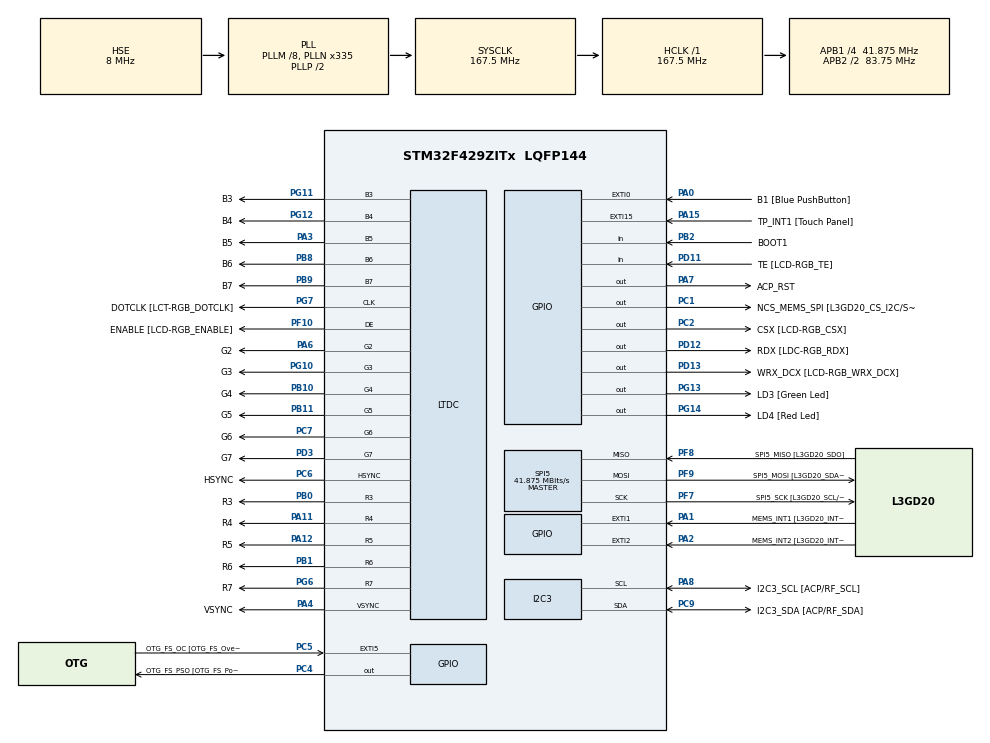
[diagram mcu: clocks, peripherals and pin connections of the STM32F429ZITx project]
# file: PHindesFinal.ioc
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Mcu.Family=STM32F4
Mcu.Name=STM32F429ZITx
Mcu.Package=LQFP144
NVIC.EXTI0_IRQn=true\:0\:0\:false\:false\:true\:true\:true\:true
NVIC.PriorityGroup=NVIC_PRIORITYGROUP_0
NVIC.TIM2_IRQn=true\:0\:0\:false\:false\:true\:true\:true\:true
PA0/WKUP.GPIO_Label=B1 [Blue PushButton]
PA0/WKUP.GPIO_ModeDefaultEXTI=GPIO_MODE_IT_RISING
PA0/WKUP.GPIO_PuPd=GPIO_NOPULL
PA0/WKUP.Signal=GPXTI0
PA1.GPIO_Label=MEMS_INT1 [L3GD20_INT1]
PA1.GPIO_ModeDefaultEXTI=GPIO_MODE_EVT_RISING
PA1.GPIO_PuPd=GPIO_NOPULL
PA1.Signal=GPXTI1
PA10.GPIO_Label=STLINK_TX [STM32F103CBT6_PA2]
PA10.Signal=USART1_RX
PA11.GPIO_Label=R4
PA11.GPIO_Mode=GPIO_MODE_AF_PP
PA11.GPIO_PuPd=GPIO_NOPULL
PA11.GPIO_Speed=GPIO_SPEED_FREQ_LOW
PA11.Mode=RGB565
PA11.Signal=LTDC_R4
PA12.GPIO_Label=R5
PA12.GPIO_Mode=GPIO_MODE_AF_PP
PA12.GPIO_PuPd=GPIO_NOPULL
PA12.GPIO_Speed=GPIO_SPEED_FREQ_LOW
PA12.Mode=RGB565
PA12.Signal=LTDC_R5
PA13.GPIO_Label=SWDIO
PA13.Signal=SYS_JTMS-SWDIO
PA14.GPIO_Label=SWCLK
PA14.Signal=SYS_JTCK-SWCLK
PA15.GPIO_Label=TP_INT1 [Touch Panel]
PA15.GPIO_ModeDefaultEXTI=GPIO_MODE_EVT_RISING
PA15.GPIO_PuPd=GPIO_NOPULL
PA15.Signal=GPXTI15
PA2.GPIO_Label=MEMS_INT2 [L3GD20_INT2]
PA2.GPIO_ModeDefaultEXTI=GPIO_MODE_EVT_RISING
PA2.GPIO_PuPd=GPIO_NOPULL
PA2.Signal=GPXTI2
PA3.GPIO_Label=B5
PA3.GPIO_Mode=GPIO_MODE_AF_PP
PA3.GPIO_PuPd=GPIO_NOPULL
PA3.GPIO_Speed=GPIO_SPEED_FREQ_LOW
PA3.Mode=RGB565
PA3.Signal=LTDC_B5
PA4.GPIO_Label=VSYNC
PA4.GPIO_Mode=GPIO_MODE_AF_PP
PA4.GPIO_PuPd=GPIO_NOPULL
PA4.GPIO_Speed=GPIO_SPEED_FREQ_LOW
PA4.Mode=RGB565
PA4.Signal=LTDC_VSYNC
PA6.GPIO_Label=G2
PA6.GPIO_Mode=GPIO_MODE_AF_PP
PA6.GPIO_PuPd=GPIO_NOPULL
PA6.GPIO_Speed=GPIO_SPEED_FREQ_LOW
PA6.Mode=RGB565
PA6.Signal=LTDC_G2
PA7.GPIO_Label=ACP_RST
PA7.GPIO_Mode=GPIO_MODE_OUTPUT_PP
PA7.GPIO_PuPd=GPIO_NOPULL
PA7.GPIO_Speed=GPIO_SPEED_FREQ_LOW
PA7.Signal=GPIO_Output
PA8.GPIO_Label=I2C3_SCL [ACP/RF_SCL]
PA8.GPIO_Mode=GPIO_MODE_AF_OD
PA8.GPIO_PuPd=GPIO_NOPULL
PA8.GPIO_Speed=GPIO_SPEED_FREQ_LOW
PA8.Mode=I2C
PA8.Signal=I2C3_SCL
PA9.GPIO_Label=STLINK_RX [STM32F103CBT6_PA3]
PA9.Signal=USART1_TX
PB0.GPIO_Label=R3
PB0.GPIO_Mode=GPIO_MODE_AF_PP
PB0.GPIO_PuPd=GPIO_NOPULL
PB0.GPIO_Speed=GPIO_SPEED_FREQ_LOW
PB0.Mode=RGB565
PB0.Signal=LTDC_R3
PB1.GPIO_Label=R6
PB1.GPIO_Mode=GPIO_MODE_AF_PP
PB1.GPIO_PuPd=GPIO_NOPULL
PB1.GPIO_Speed=GPIO_SPEED_FREQ_LOW
PB1.Mode=RGB565
PB1.Signal=LTDC_R6
PB10.GPIO_Label=G4
PB10.GPIO_Mode=GPIO_MODE_AF_PP
PB10.GPIO_PuPd=GPIO_NOPULL
PB10.GPIO_Speed=GPIO_SPEED_FREQ_LOW
PB10.Mode=RGB565
PB10.Signal=LTDC_G4
PB11.GPIO_Label=G5
PB11.GPIO_Mode=GPIO_MODE_AF_PP
PB11.GPIO_PuPd=GPIO_NOPULL
PB11.GPIO_Speed=GPIO_SPEED_FREQ_LOW
PB11.Mode=RGB565
PB11.Signal=LTDC_G5
PB12.GPIO_Label=OTG_HS_ID
PB12.GPIO_Mode=GPIO_MODE_AF_PP
PB12.GPIO_PuPd=GPIO_NOPULL
PB12.GPIO_Speed=GPIO_SPEED_FREQ_LOW
PB12.Signal=USB_OTG_HS_ID
PB13.GPIO_Label=VBUS_HS
PB13.GPIO_Mode=GPIO_MODE_INPUT
PB13.GPIO_PuPd=GPIO_NOPULL
PB13.Signal=USB_OTG_HS_VBUS
PB14.GPIO_Label=OTG_HS_DM
PB14.GPIO_Mode=GPIO_MODE_AF_PP
PB14.GPIO_PuPd=GPIO_NOPULL
PB14.GPIO_Speed=GPIO_SPEED_FREQ_LOW
PB14.Signal=USB_OTG_HS_DM
PB15.GPIO_Label=OTG_HS_DP
PB15.GPIO_Mode=GPIO_MODE_AF_PP
PB15.GPIO_PuPd=GPIO_NOPULL
PB15.GPIO_Speed=GPIO_SPEED_FREQ_LOW
PB15.Signal=USB_OTG_HS_DP
PB2/BOOT1.GPIO_Label=BOOT1
PB2/BOOT1.GPIO_Mode=GPIO_MODE_INPUT
PB2/BOOT1.GPIO_PuPd=GPIO_NOPULL
PB2/BOOT1.Signal=GPIO_Input
PB5.GPIO_Label=SDCKE1
PB5.GPIO_Mode=GPIO_MODE_AF_PP
PB5.GPIO_PuPd=GPIO_NOPULL
PB5.GPIO_Speed=GPIO_SPEED_FREQ_VERY_HIGH
PB5.Signal=FMC_SDCKE1
PB6.GPIO_Label=SDNE1 [SDRAM_CS]
PB6.GPIO_Mode=GPIO_MODE_AF_PP
PB6.GPIO_PuPd=GPIO_NOPULL
PB6.GPIO_Speed=GPIO_SPEED_FREQ_VERY_HIGH
PB6.Signal=FMC_SDNE1
PB8.GPIO_Label=B6
PB8.GPIO_Mode=GPIO_MODE_AF_PP
PB8.GPIO_PuPd=GPIO_NOPULL
PB8.GPIO_Speed=GPIO_SPEED_FREQ_LOW
PB8.Mode=RGB565
PB8.Signal=LTDC_B6
PB9.GPIO_Label=B7
PB9.GPIO_Mode=GPIO_MODE_AF_PP
PB9.GPIO_PuPd=GPIO_NOPULL
PB9.GPIO_Speed=GPIO_SPEED_FREQ_LOW
PB9.Mode=RGB565
PB9.Signal=LTDC_B7
PC0.GPIO_Label=SDNWE
PC0.GPIO_Mode=GPIO_MODE_AF_PP
PC0.GPIO_PuPd=GPIO_NOPULL
PC0.GPIO_Speed=GPIO_SPEED_FREQ_VERY_HIGH
PC0.Signal=FMC_SDNWE
PC1.GPIO_Label=NCS_MEMS_SPI [L3GD20_CS_I2C/SPI]
PC1.GPIO_Mode=GPIO_MODE_OUTPUT_PP
PC1.GPIO_PuPd=GPIO_NOPULL
PC1.GPIO_Speed=GPIO_SPEED_FREQ_LOW
PC1.Signal=GPIO_Output
PC10.GPIO_Label=R2
PC10.GPIO_Mode=GPIO_MODE_AF_PP
PC10.GPIO_PuPd=GPIO_NOPULL
PC10.GPIO_Speed=GPIO_SPEED_FREQ_LOW
PC10.Signal=LTDC_R2
PC14/OSC32_IN.GPIO_Label=PC14-OSC32_IN
PC14/OSC32_IN.Signal=RCC_OSC32_IN
PC15/OSC32_OUT.GPIO_Label=PC15-OSC32_OUT
PC15/OSC32_OUT.Signal=RCC_OSC32_OUT
PC2.GPIO_Label=CSX [LCD-RGB_CSX]
PC2.GPIO_Mode=GPIO_MODE_OUTPUT_PP
PC2.GPIO_PuPd=GPIO_NOPULL
PC2.GPIO_Speed=GPIO_SPEED_FREQ_LOW
PC2.Signal=GPIO_Output
PC4.GPIO_Label=OTG_FS_PSO [OTG_FS_PowerSwitchOn]
PC4.GPIO_Mode=GPIO_MODE_OUTPUT_PP
PC4.GPIO_PuPd=GPIO_NOPULL
PC4.GPIO_Speed=GPIO_SPEED_FREQ_LOW
PC4.Signal=GPIO_Output
PC5.GPIO_Label=OTG_FS_OC [OTG_FS_OverCurrent]
PC5.GPIO_ModeDefaultEXTI=GPIO_MODE_EVT_RISING
PC5.Signal=GPXTI5
PC6.GPIO_Label=HSYNC
PC6.GPIO_Mode=GPIO_MODE_AF_PP
PC6.GPIO_PuPd=GPIO_NOPULL
PC6.GPIO_Speed=GPIO_SPEED_FREQ_LOW
PC6.Mode=RGB565
PC6.Signal=LTDC_HSYNC
PC7.GPIO_Label=G6
PC7.GPIO_Mode=GPIO_MODE_AF_PP
PC7.GPIO_PuPd=GPIO_NOPULL
PC7.GPIO_Speed=GPIO_SPEED_FREQ_LOW
PC7.Mode=RGB565
PC7.Signal=LTDC_G6
PC9.GPIO_Label=I2C3_SDA [ACP/RF_SDA]
PC9.GPIO_Mode=GPIO_MODE_AF_OD
PC9.GPIO_PuPd=GPIO_NOPULL
PC9.GPIO_Speed=GPIO_SPEED_FREQ_LOW
PC9.Mode=I2C
PC9.Signal=I2C3_SDA
PD0.GPIO_Label=D2
PD0.GPIO_Mode=GPIO_MODE_AF_PP
PD0.GPIO_PuPd=GPIO_NOPULL
PD0.GPIO_Speed=GPIO_SPEED_FREQ_VERY_HIGH
PD0.Signal=FMC_D2_DA2
PD1.GPIO_Label=D3
PD1.GPIO_Mode=GPIO_MODE_AF_PP
PD1.GPIO_PuPd=GPIO_NOPULL
PD1.GPIO_Speed=GPIO_SPEED_FREQ_VERY_HIGH
PD1.Signal=FMC_D3_DA3
PD10.GPIO_Label=D15
PD10.GPIO_Mode=GPIO_MODE_AF_PP
PD10.GPIO_PuPd=GPIO_NOPULL
PD10.GPIO_Speed=GPIO_SPEED_FREQ_VERY_HIGH
PD10.Signal=FMC_D15_DA15
PD11.GPIO_Label=TE [LCD-RGB_TE]
PD11.GPIO_Mode=GPIO_MODE_INPUT
PD11.GPIO_PuPd=GPIO_NOPULL
PD11.Signal=GPIO_Input
PD12.GPIO_Label=RDX [LDC-RGB_RDX]
PD12.GPIO_Mode=GPIO_MODE_OUTPUT_PP
PD12.GPIO_PuPd=GPIO_NOPULL
PD12.GPIO_Speed=GPIO_SPEED_FREQ_LOW
PD12.Signal=GPIO_Output
PD13.GPIO_Label=WRX_DCX [LCD-RGB_WRX_DCX]
PD13.GPIO_Mode=GPIO_MODE_OUTPUT_PP
PD13.GPIO_PuPd=GPIO_NOPULL
PD13.GPIO_Speed=GPIO_SPEED_FREQ_LOW
PD13.Signal=GPIO_Output
PD14.GPIO_Label=D0
PD14.GPIO_Mode=GPIO_MODE_AF_PP
PD14.GPIO_PuPd=GPIO_NOPULL
PD14.GPIO_Speed=GPIO_SPEED_FREQ_VERY_HIGH
PD14.Signal=FMC_D0_DA0
PD15.GPIO_Label=D1
PD15.GPIO_Mode=GPIO_MODE_AF_PP
PD15.GPIO_PuPd=GPIO_NOPULL
PD15.GPIO_Speed=GPIO_SPEED_FREQ_VERY_HIGH
PD15.Signal=FMC_D1_DA1
PD3.GPIO_Label=G7
PD3.GPIO_Mode=GPIO_MODE_AF_PP
PD3.GPIO_PuPd=GPIO_NOPULL
PD3.GPIO_Speed=GPIO_SPEED_FREQ_LOW
PD3.Mode=RGB565
PD3.Signal=LTDC_G7
PD6.GPIO_Label=B2
PD6.GPIO_Mode=GPIO_MODE_AF_PP
PD6.GPIO_PuPd=GPIO_NOPULL
PD6.GPIO_Speed=GPIO_SPEED_FREQ_LOW
PD6.Signal=LTDC_B2
PD8.GPIO_Label=D13
PD8.GPIO_Mode=GPIO_MODE_AF_PP
PD8.GPIO_PuPd=GPIO_NOPULL
PD8.GPIO_Speed=GPIO_SPEED_FREQ_VERY_HIGH
PD8.Signal=FMC_D13_DA13
PD9.GPIO_Label=D14
PD9.GPIO_Mode=GPIO_MODE_AF_PP
PD9.GPIO_PuPd=GPIO_NOPULL
PD9.GPIO_Speed=GPIO_SPEED_FREQ_VERY_HIGH
PD9.Signal=FMC_D14_DA14
PE0.GPIO_Label=NBL0 [SDRAM_LDQM]
PE0.GPIO_Mode=GPIO_MODE_AF_PP
PE0.GPIO_PuPd=GPIO_NOPULL
PE0.GPIO_Speed=GPIO_SPEED_FREQ_VERY_HIGH
PE0.Signal=FMC_NBL0
PE1.GPIO_Label=NBL1 [SDRAM_UDQM]
PE1.GPIO_Mode=GPIO_MODE_AF_PP
PE1.GPIO_PuPd=GPIO_NOPULL
PE1.GPIO_Speed=GPIO_SPEED_FREQ_VERY_HIGH
PE1.Signal=FMC_NBL1
PE10.GPIO_Label=D7
PE10.GPIO_Mode=GPIO_MODE_AF_PP
PE10.GPIO_PuPd=GPIO_NOPULL
PE10.GPIO_Speed=GPIO_SPEED_FREQ_VERY_HIGH
PE10.Signal=FMC_D7_DA7
PE11.GPIO_Label=D8
PE11.GPIO_Mode=GPIO_MODE_AF_PP
PE11.GPIO_PuPd=GPIO_NOPULL
PE11.GPIO_Speed=GPIO_SPEED_FREQ_VERY_HIGH
PE11.Signal=FMC_D8_DA8
PE12.GPIO_Label=D9
PE12.GPIO_Mode=GPIO_MODE_AF_PP
PE12.GPIO_PuPd=GPIO_NOPULL
PE12.GPIO_Speed=GPIO_SPEED_FREQ_VERY_HIGH
PE12.Signal=FMC_D9_DA9
PE13.GPIO_Label=D10
PE13.GPIO_Mode=GPIO_MODE_AF_PP
PE13.GPIO_PuPd=GPIO_NOPULL
PE13.GPIO_Speed=GPIO_SPEED_FREQ_VERY_HIGH
PE13.Signal=FMC_D10_DA10
PE14.GPIO_Label=D11
PE14.GPIO_Mode=GPIO_MODE_AF_PP
PE14.GPIO_PuPd=GPIO_NOPULL
PE14.GPIO_Speed=GPIO_SPEED_FREQ_VERY_HIGH
PE14.Signal=FMC_D11_DA11
PE15.GPIO_Label=D12
PE15.GPIO_Mode=GPIO_MODE_AF_PP
PE15.GPIO_PuPd=GPIO_NOPULL
PE15.GPIO_Speed=GPIO_SPEED_FREQ_VERY_HIGH
PE15.Signal=FMC_D12_DA12
PE7.GPIO_Label=D4
PE7.GPIO_Mode=GPIO_MODE_AF_PP
PE7.GPIO_PuPd=GPIO_NOPULL
PE7.GPIO_Speed=GPIO_SPEED_FREQ_VERY_HIGH
PE7.Signal=FMC_D4_DA4
PE8.GPIO_Label=D5
PE8.GPIO_Mode=GPIO_MODE_AF_PP
PE8.GPIO_PuPd=GPIO_NOPULL
PE8.GPIO_Speed=GPIO_SPEED_FREQ_VERY_HIGH
PE8.Signal=FMC_D5_DA5
PE9.GPIO_Label=D6
PE9.GPIO_Mode=GPIO_MODE_AF_PP
PE9.GPIO_PuPd=GPIO_NOPULL
PE9.GPIO_Speed=GPIO_SPEED_FREQ_VERY_HIGH
PE9.Signal=FMC_D6_DA6
PF0.GPIO_Label=A0
PF0.GPIO_Mode=GPIO_MODE_AF_PP
PF0.GPIO_PuPd=GPIO_NOPULL
PF0.GPIO_Speed=GPIO_SPEED_FREQ_VERY_HIGH
PF0.Signal=FMC_A0
PF1.GPIO_Label=A1
PF1.GPIO_Mode=GPIO_MODE_AF_PP
PF1.GPIO_PuPd=GPIO_NOPULL
PF1.GPIO_Speed=GPIO_SPEED_FREQ_VERY_HIGH
PF1.Signal=FMC_A1
PF10.GPIO_Label=ENABLE [LCD-RGB_ENABLE]
PF10.GPIO_Mode=GPIO_MODE_AF_PP
PF10.GPIO_PuPd=GPIO_NOPULL
PF10.GPIO_Speed=GPIO_SPEED_FREQ_LOW
PF10.Mode=RGB565
PF10.Signal=LTDC_DE
PF11.GPIO_Label=SDNRAS
PF11.GPIO_Mode=GPIO_MODE_AF_PP
PF11.GPIO_PuPd=GPIO_NOPULL
PF11.GPIO_Speed=GPIO_SPEED_FREQ_VERY_HIGH
PF11.Signal=FMC_SDNRAS
PF12.GPIO_Label=A6
PF12.GPIO_Mode=GPIO_MODE_AF_PP
PF12.GPIO_PuPd=GPIO_NOPULL
PF12.GPIO_Speed=GPIO_SPEED_FREQ_VERY_HIGH
PF12.Signal=FMC_A6
PF13.GPIO_Label=A7
PF13.GPIO_Mode=GPIO_MODE_AF_PP
PF13.GPIO_PuPd=GPIO_NOPULL
PF13.GPIO_Speed=GPIO_SPEED_FREQ_VERY_HIGH
PF13.Signal=FMC_A7
PF14.GPIO_Label=A8
PF14.GPIO_Mode=GPIO_MODE_AF_PP
PF14.GPIO_PuPd=GPIO_NOPULL
PF14.GPIO_Speed=GPIO_SPEED_FREQ_VERY_HIGH
PF14.Signal=FMC_A8
PF15.GPIO_Label=A9
PF15.GPIO_Mode=GPIO_MODE_AF_PP
PF15.GPIO_PuPd=GPIO_NOPULL
PF15.GPIO_Speed=GPIO_SPEED_FREQ_VERY_HIGH
PF15.Signal=FMC_A9
PF2.GPIO_Label=A2
PF2.GPIO_Mode=GPIO_MODE_AF_PP
PF2.GPIO_PuPd=GPIO_NOPULL
PF2.GPIO_Speed=GPIO_SPEED_FREQ_VERY_HIGH
PF2.Signal=FMC_A2
PF3.GPIO_Label=A3
PF3.GPIO_Mode=GPIO_MODE_AF_PP
PF3.GPIO_PuPd=GPIO_NOPULL
PF3.GPIO_Speed=GPIO_SPEED_FREQ_VERY_HIGH
PF3.Signal=FMC_A3
PF4.GPIO_Label=A4
PF4.GPIO_Mode=GPIO_MODE_AF_PP
PF4.GPIO_PuPd=GPIO_NOPULL
PF4.GPIO_Speed=GPIO_SPEED_FREQ_VERY_HIGH
PF4.Signal=FMC_A4
PF5.GPIO_Label=A5
PF5.GPIO_Mode=GPIO_MODE_AF_PP
PF5.GPIO_PuPd=GPIO_NOPULL
PF5.GPIO_Speed=GPIO_SPEED_FREQ_VERY_HIGH
PF5.Signal=FMC_A5
PF7.GPIO_Label=SPI5_SCK [L3GD20_SCL/SPC]
PF7.GPIO_Mode=GPIO_MODE_AF_PP
PF7.GPIO_PuPd=GPIO_NOPULL
PF7.GPIO_Speed=GPIO_SPEED_FREQ_LOW
PF7.Mode=Full_Duplex_Master
PF7.Signal=SPI5_SCK
PF8.GPIO_Label=SPI5_MISO [L3GD20_SDO]
PF8.GPIO_Mode=GPIO_MODE_AF_PP
PF8.GPIO_PuPd=GPIO_NOPULL
PF8.GPIO_Speed=GPIO_SPEED_FREQ_LOW
PF8.Mode=Full_Duplex_Master
PF8.Signal=SPI5_MISO
PF9.GPIO_Label=SPI5_MOSI [L3GD20_SDA/SDI/SDO]
PF9.GPIO_Mode=GPIO_MODE_AF_PP
PF9.GPIO_PuPd=GPIO_NOPULL
PF9.GPIO_Speed=GPIO_SPEED_FREQ_LOW
PF9.Mode=Full_Duplex_Master
PF9.Signal=SPI5_MOSI
PG0.GPIO_Label=A10
PG0.GPIO_Mode=GPIO_MODE_AF_PP
PG0.GPIO_PuPd=GPIO_NOPULL
PG0.GPIO_Speed=GPIO_SPEED_FREQ_VERY_HIGH
PG0.Signal=FMC_A10
PG1.GPIO_Label=A11
PG1.GPIO_Mode=GPIO_MODE_AF_PP
PG1.GPIO_PuPd=GPIO_NOPULL
PG1.GPIO_Speed=GPIO_SPEED_FREQ_VERY_HIGH
PG1.Signal=FMC_A11
PG10.GPIO_Label=G3
PG10.GPIO_Mode=GPIO_MODE_AF_PP
PG10.GPIO_PuPd=GPIO_NOPULL
PG10.GPIO_Speed=GPIO_SPEED_FREQ_LOW
PG10.Mode=RGB565
PG10.Signal=LTDC_G3
PG11.GPIO_Label=B3
PG11.GPIO_Mode=GPIO_MODE_AF_PP
PG11.GPIO_PuPd=GPIO_NOPULL
PG11.GPIO_Speed=GPIO_SPEED_FREQ_LOW
PG11.Mode=RGB565
PG11.Signal=LTDC_B3
PG12.GPIO_Label=B4
PG12.GPIO_Mode=GPIO_MODE_AF_PP
PG12.GPIO_PuPd=GPIO_NOPULL
PG12.GPIO_Speed=GPIO_SPEED_FREQ_LOW
PG12.Mode=RGB565
PG12.Signal=LTDC_B4
PG13.GPIO_Label=LD3 [Green Led]
PG13.GPIO_Mode=GPIO_MODE_OUTPUT_PP
PG13.GPIO_PuPd=GPIO_NOPULL
PG13.GPIO_Speed=GPIO_SPEED_FREQ_LOW
PG13.Signal=GPIO_Output
PG14.GPIO_Label=LD4 [Red Led]
PG14.GPIO_Mode=GPIO_MODE_OUTPUT_PP
PG14.GPIO_PuPd=GPIO_NOPULL
PG14.GPIO_Speed=GPIO_SPEED_FREQ_LOW
PG14.Signal=GPIO_Output
PG15.GPIO_Label=SDNCAS
PG15.GPIO_Mode=GPIO_MODE_AF_PP
PG15.GPIO_PuPd=GPIO_NOPULL
PG15.GPIO_Speed=GPIO_SPEED_FREQ_VERY_HIGH
PG15.Signal=FMC_SDNCAS
PG4.GPIO_Label=BA0
PG4.GPIO_Mode=GPIO_MODE_AF_PP
PG4.GPIO_PuPd=GPIO_NOPULL
PG4.GPIO_Speed=GPIO_SPEED_FREQ_VERY_HIGH
PG4.Signal=FMC_A14_BA0
PG5.GPIO_Label=BA1
PG5.GPIO_Mode=GPIO_MODE_AF_PP
PG5.GPIO_PuPd=GPIO_NOPULL
PG5.GPIO_Speed=GPIO_SPEED_FREQ_VERY_HIGH
PG5.Signal=FMC_A15_BA1
PG6.GPIO_Label=R7
PG6.GPIO_Mode=GPIO_MODE_AF_PP
PG6.GPIO_PuPd=GPIO_NOPULL
PG6.GPIO_Speed=GPIO_SPEED_FREQ_LOW
PG6.Mode=RGB565
PG6.Signal=LTDC_R7
PG7.GPIO_Label=DOTCLK [LCT-RGB_DOTCLK]
PG7.GPIO_Mode=GPIO_MODE_AF_PP
PG7.GPIO_PuPd=GPIO_NOPULL
PG7.GPIO_Speed=GPIO_SPEED_FREQ_LOW
PG7.Mode=RGB565
PG7.Signal=LTDC_CLK
PG8.GPIO_Label=SDCLK
PG8.GPIO_Mode=GPIO_MODE_AF_PP
PG8.GPIO_PuPd=GPIO_NOPULL
PG8.GPIO_Speed=GPIO_SPEED_FREQ_VERY_HIGH
PG8.Signal=FMC_SDCLK
PH0/OSC_IN.GPIO_Label=PH0-OSC_IN
PH0/OSC_IN.Mode=HSE-External-Oscillator
PH0/OSC_IN.Signal=RCC_OSC_IN
PH1/OSC_OUT.GPIO_Label=PH1-OSC_OUT
PH1/OSC_OUT.Mode=HSE-External-Oscillator
PH1/OSC_OUT.Signal=RCC_OSC_OUT
ProjectManager.HeapSize=0x200
ProjectManager.StackSize=0x400
ProjectManager.TargetToolchain=STM32CubeIDE
RCC.48MHZClocksFreq_Value=47857142.85714286
RCC.AHBFreq_Value=167500000
RCC.APB1CLKDivider=RCC_HCLK_DIV4
RCC.APB1Freq_Value=41875000
RCC.APB1TimFreq_Value=83750000
RCC.APB2CLKDivider=RCC_HCLK_DIV2
RCC.APB2Freq_Value=83750000
RCC.APB2TimFreq_Value=167500000
RCC.CortexFreq_Value=167500000
RCC.HCLKFreq_Value=167500000
RCC.HSE_VALUE=8000000
RCC.HSI_VALUE=16000000
RCC.LSE_VALUE=32768
RCC.PLLM=8
RCC.PLLN=335
RCC.PLLQ=7
RCC.PLLSAIDivR=RCC_PLLSAIDIVR_8
RCC.PLLSAIN=100
RCC.PLLSourceVirtual=RCC_PLLSOURCE_HSE
RCC.SYSCLKFreq_VALUE=167500000
RCC.SYSCLKSource=RCC_SYSCLKSOURCE_PLLCLK
RCC.VCOOutputFreq_Value=335000000
SH.FMC_A0.0=FMC_A0
SH.FMC_A1.0=FMC_A1
SH.FMC_A10.0=FMC_A10
SH.FMC_A11.0=FMC_A11
SH.FMC_A14_BA0.0=FMC_BA0
SH.FMC_A15_BA1.0=FMC_BA1
SH.FMC_A2.0=FMC_A2
SH.FMC_A3.0=FMC_A3
SH.FMC_A4.0=FMC_A4
SH.FMC_A5.0=FMC_A5
SH.FMC_A6.0=FMC_A6
SH.FMC_A7.0=FMC_A7
SH.FMC_A8.0=FMC_A8
SH.FMC_A9.0=FMC_A9
SH.FMC_D0_DA0.0=FMC_D0
SH.FMC_D10_DA10.0=FMC_D10
SH.FMC_D11_DA11.0=FMC_D11
SH.FMC_D12_DA12.0=FMC_D12
SH.FMC_D13_DA13.0=FMC_D13
SH.FMC_D14_DA14.0=FMC_D14
SH.FMC_D15_DA15.0=FMC_D15
SH.FMC_D1_DA1.0=FMC_D1
SH.FMC_D2_DA2.0=FMC_D2
SH.FMC_D3_DA3.0=FMC_D3
SH.FMC_D4_DA4.0=FMC_D4
SH.FMC_D5_DA5.0=FMC_D5
SH.FMC_D6_DA6.0=FMC_D6
SH.FMC_D7_DA7.0=FMC_D7
SH.FMC_D8_DA8.0=FMC_D8
SH.FMC_D9_DA9.0=FMC_D9
SH.FMC_NBL0.0=FMC_NBL0
SH.FMC_NBL1.0=FMC_NBL1
SH.FMC_SDCLK.0=FMC_SDCLK
SH.FMC_SDNCAS.0=FMC_SDNCAS
SH.FMC_SDNRAS.0=FMC_SDNRAS
SH.FMC_SDNWE.0=FMC_SDNWE
SPI5.CalculateBaudRate=41.875 MBits/s
SPI5.Direction=SPI_DIRECTION_2LINES
SPI5.Mode=SPI_MODE_MASTER
SPI5.VirtualType=VM_MASTER
TIM2.Period=(500) - 1
TIM2.Prescaler=16750 - 1
TIM5.Prescaler=16750 - 1
VP_RNG_VS_RNG.Mode=RNG_Activate
VP_TIM2_VS_ClockSourceINT.Mode=Internal
VP_TIM5_VS_ClockSourceINT.Mode=Internal
board=STM32F429I-DISC1

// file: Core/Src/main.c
/* USER CODE BEGIN Header */
/**
  ******************************************************************************
  * @file           : main.c
  * @brief          : Main program body
  ******************************************************************************
  * @attention
  *
  * Copyright (c) 2024 STMicroelectronics.
  * All rights reserved.
  *
  * This software is licensed under terms that can be found in the LICENSE file
  * in the root directory of this software component.
  * If no LICENSE file comes with this software, it is provided AS-IS.
  *
  ******************************************************************************
  */
/* USER CODE END Header */
#include "main.h"

/* USER CODE BEGIN Includes */
#include <stdio.h>
extern void initialise_monitor_handles(void);

#include "ApplicationCode.h"
/* USER CODE END Includes */

I2C_HandleTypeDef hi2c3;

LTDC_HandleTypeDef hltdc;

RNG_HandleTypeDef hrng;

SPI_HandleTypeDef hspi5;

TIM_HandleTypeDef htim2;
TIM_HandleTypeDef htim5;

void SystemClock_Config(void);
static void MX_GPIO_Init(void);
static void MX_I2C3_Init(void);
static void MX_LTDC_Init(void);
static void MX_RNG_Init(void);
static void MX_TIM5_Init(void);
static void MX_TIM2_Init(void);
static void MX_SPI5_Init(void);
/* USER CODE BEGIN PFP */
void SystemClock_Config(void);
void SystemClockOverride(void);
/* USER CODE END PFP */

int main(void)
{

  /* USER CODE BEGIN 1 */
#if USEDEBUG == 1
  initialise_monitor_handles();
#endif
  /* USER CODE END 1 */

  /* MCU Configuration--------------------------------------------------------*/

  /* Reset of all peripherals, Initializes the Flash interface and the Systick. */
  HAL_Init();

  /* USER CODE BEGIN Init */
//#ifdef DONTDEFINE
  /* USER CODE END Init */

  /* Configure the system clock */
  SystemClock_Config();

  /* USER CODE BEGIN SysInit */
//#endif
  ApplicationInit(); // Initializes the LCD functionality
  showStartScreen();
#ifdef DONTDEFINE
  /* USER CODE END SysInit */

  /* Initialize all configured peripherals */
  MX_GPIO_Init();
  MX_I2C3_Init();
  MX_LTDC_Init();
  MX_RNG_Init();
  MX_TIM5_Init();
  MX_TIM2_Init();
  MX_SPI5_Init();
  /* USER CODE BEGIN 2 */
#endif
  MX_GPIO_Init();
  MX_RNG_Init();
  MX_TIM5_Init();
  MX_TIM2_Init();

//  HAL_TIM_Base_Start_IT(& htim2);
//  HAL_TIM_Base_Start(& htim5);

  ApplicationInit(); // Initializes the LCD functionality

//  printf("Hi!\n");

HAL_GPIO_TogglePin(GPIOG, GPIO_PIN_14);

  showStartScreen();

	HAL_GPIO_TogglePin(GPIOG, GPIO_PIN_14);

  /* USER CODE END 2 */

  /* Infinite loop */
  while (1)
  {

  }
}

void SystemClock_Config(void)
{
  RCC_OscInitTypeDef RCC_OscInitStruct = {0};
  RCC_ClkInitTypeDef RCC_ClkInitStruct = {0};

  /** Configure the main internal regulator output voltage
  */
  __HAL_RCC_PWR_CLK_ENABLE();
  __HAL_PWR_VOLTAGESCALING_CONFIG(PWR_REGULATOR_VOLTAGE_SCALE1);

  /** Initializes the RCC Oscillators according to the specified parameters
  * in the RCC_OscInitTypeDef structure.
  */
  RCC_OscInitStruct.OscillatorType = RCC_OSCILLATORTYPE_HSE;
  RCC_OscInitStruct.HSEState = RCC_HSE_ON;
  RCC_OscInitStruct.PLL.PLLState = RCC_PLL_ON;
  RCC_OscInitStruct.PLL.PLLSource = RCC_PLLSOURCE_HSE;
  RCC_OscInitStruct.PLL.PLLM = 8;
  RCC_OscInitStruct.PLL.PLLN = 335;
  RCC_OscInitStruct.PLL.PLLP = RCC_PLLP_DIV2;
  RCC_OscInitStruct.PLL.PLLQ = 7;
  if (HAL_RCC_OscConfig(&RCC_OscInitStruct) != HAL_OK)
  {
    Error_Handler();
  }

  /** Initializes the CPU, AHB and APB buses clocks
  */
  RCC_ClkInitStruct.ClockType = RCC_CLOCKTYPE_HCLK|RCC_CLOCKTYPE_SYSCLK
                              |RCC_CLOCKTYPE_PCLK1|RCC_CLOCKTYPE_PCLK2;
  RCC_ClkInitStruct.SYSCLKSource = RCC_SYSCLKSOURCE_PLLCLK;
  RCC_ClkInitStruct.AHBCLKDivider = RCC_SYSCLK_DIV1;
  RCC_ClkInitStruct.APB1CLKDivider = RCC_HCLK_DIV4;
  RCC_ClkInitStruct.APB2CLKDivider = RCC_HCLK_DIV2;

  if (HAL_RCC_ClockConfig(&RCC_ClkInitStruct, FLASH_LATENCY_5) != HAL_OK)
  {
    Error_Handler();
  }
}

__attribute__((unused)) static void MX_I2C3_Init(void)
{

  hi2c3.Instance = I2C3;
  hi2c3.Init.ClockSpeed = 100000;
  hi2c3.Init.DutyCycle = I2C_DUTYCYCLE_2;
  hi2c3.Init.OwnAddress1 = 0;
  hi2c3.Init.AddressingMode = I2C_ADDRESSINGMODE_7BIT;
  hi2c3.Init.DualAddressMode = I2C_DUALADDRESS_DISABLE;
  hi2c3.Init.OwnAddress2 = 0;
  hi2c3.Init.GeneralCallMode = I2C_GENERALCALL_DISABLE;
  hi2c3.Init.NoStretchMode = I2C_NOSTRETCH_DISABLE;
  if (HAL_I2C_Init(&hi2c3) != HAL_OK)
  {
    Error_Handler();
  }

  /** Configure Analogue filter
  */
  if (HAL_I2CEx_ConfigAnalogFilter(&hi2c3, I2C_ANALOGFILTER_ENABLE) != HAL_OK)
  {
    Error_Handler();
  }

  /** Configure Digital filter
  */
  if (HAL_I2CEx_ConfigDigitalFilter(&hi2c3, 0) != HAL_OK)
  {
    Error_Handler();
  }

}

__attribute__((unused)) static void MX_LTDC_Init(void)
{

  LTDC_LayerCfgTypeDef pLayerCfg = {0};
  LTDC_LayerCfgTypeDef pLayerCfg1 = {0};

  hltdc.Instance = LTDC;
  hltdc.Init.HSPolarity = LTDC_HSPOLARITY_AL;
  hltdc.Init.VSPolarity = LTDC_VSPOLARITY_AL;
  hltdc.Init.DEPolarity = LTDC_DEPOLARITY_AL;
  hltdc.Init.PCPolarity = LTDC_PCPOLARITY_IPC;
  hltdc.Init.HorizontalSync = 7;
  hltdc.Init.VerticalSync = 3;
  hltdc.Init.AccumulatedHBP = 14;
  hltdc.Init.AccumulatedVBP = 5;
  hltdc.Init.AccumulatedActiveW = 654;
  hltdc.Init.AccumulatedActiveH = 485;
  hltdc.Init.TotalWidth = 660;
  hltdc.Init.TotalHeigh = 487;
  hltdc.Init.Backcolor.Blue = 0;
  hltdc.Init.Backcolor.Green = 0;
  hltdc.Init.Backcolor.Red = 0;
  if (HAL_LTDC_Init(&hltdc) != HAL_OK)
  {
    Error_Handler();
  }
  pLayerCfg.WindowX0 = 0;
  pLayerCfg.WindowX1 = 0;
  pLayerCfg.WindowY0 = 0;
  pLayerCfg.WindowY1 = 0;
  pLayerCfg.PixelFormat = LTDC_PIXEL_FORMAT_ARGB8888;
  pLayerCfg.Alpha = 0;
  pLayerCfg.Alpha0 = 0;
  pLayerCfg.BlendingFactor1 = LTDC_BLENDING_FACTOR1_CA;
  pLayerCfg.BlendingFactor2 = LTDC_BLENDING_FACTOR2_CA;
  pLayerCfg.FBStartAdress = 0;
  pLayerCfg.ImageWidth = 0;
  pLayerCfg.ImageHeight = 0;
  pLayerCfg.Backcolor.Blue = 0;
  pLayerCfg.Backcolor.Green = 0;
  pLayerCfg.Backcolor.Red = 0;
  if (HAL_LTDC_ConfigLayer(&hltdc, &pLayerCfg, 0) != HAL_OK)
  {
    Error_Handler();
  }
  pLayerCfg1.WindowX0 = 0;
  pLayerCfg1.WindowX1 = 0;
  pLayerCfg1.WindowY0 = 0;
  pLayerCfg1.WindowY1 = 0;
  pLayerCfg1.PixelFormat = LTDC_PIXEL_FORMAT_ARGB8888;
  pLayerCfg1.Alpha = 0;
  pLayerCfg1.Alpha0 = 0;
  pLayerCfg1.BlendingFactor1 = LTDC_BLENDING_FACTOR1_CA;
  pLayerCfg1.BlendingFactor2 = LTDC_BLENDING_FACTOR2_CA;
  pLayerCfg1.FBStartAdress = 0;
  pLayerCfg1.ImageWidth = 0;
  pLayerCfg1.ImageHeight = 0;
  pLayerCfg1.Backcolor.Blue = 0;
  pLayerCfg1.Backcolor.Green = 0;
  pLayerCfg1.Backcolor.Red = 0;
  if (HAL_LTDC_ConfigLayer(&hltdc, &pLayerCfg1, 1) != HAL_OK)
  {
    Error_Handler();
  }

}

static void MX_RNG_Init(void)
{

  hrng.Instance = RNG;
  if (HAL_RNG_Init(&hrng) != HAL_OK)
  {
    Error_Handler();
  }

}

__attribute__((unused)) static void MX_SPI5_Init(void)
{

  /* SPI5 parameter configuration*/
  hspi5.Instance = SPI5;
  hspi5.Init.Mode = SPI_MODE_MASTER;
  hspi5.Init.Direction = SPI_DIRECTION_2LINES;
  hspi5.Init.DataSize = SPI_DATASIZE_8BIT;
  hspi5.Init.CLKPolarity = SPI_POLARITY_LOW;
  hspi5.Init.CLKPhase = SPI_PHASE_1EDGE;
  hspi5.Init.NSS = SPI_NSS_SOFT;
  hspi5.Init.BaudRatePrescaler = SPI_BAUDRATEPRESCALER_2;
  hspi5.Init.FirstBit = SPI_FIRSTBIT_MSB;
  hspi5.Init.TIMode = SPI_TIMODE_DISABLE;
  hspi5.Init.CRCCalculation = SPI_CRCCALCULATION_DISABLE;
  hspi5.Init.CRCPolynomial = 10;
  if (HAL_SPI_Init(&hspi5) != HAL_OK)
  {
    Error_Handler();
  }

}

static void MX_TIM2_Init(void)
{

  TIM_ClockConfigTypeDef sClockSourceConfig = {0};
  TIM_MasterConfigTypeDef sMasterConfig = {0};

  htim2.Instance = TIM2;
  htim2.Init.Prescaler = 16750 - 1;
  htim2.Init.CounterMode = TIM_COUNTERMODE_UP;
  htim2.Init.Period = (500) - 1;
  htim2.Init.ClockDivision = TIM_CLOCKDIVISION_DIV1;
  htim2.Init.AutoReloadPreload = TIM_AUTORELOAD_PRELOAD_DISABLE;
  if (HAL_TIM_Base_Init(&htim2) != HAL_OK)
  {
    Error_Handler();
  }
  sClockSourceConfig.ClockSource = TIM_CLOCKSOURCE_INTERNAL;
  if (HAL_TIM_ConfigClockSource(&htim2, &sClockSourceConfig) != HAL_OK)
  {
    Error_Handler();
  }
  sMasterConfig.MasterOutputTrigger = TIM_TRGO_RESET;
  sMasterConfig.MasterSlaveMode = TIM_MASTERSLAVEMODE_DISABLE;
  if (HAL_TIMEx_MasterConfigSynchronization(&htim2, &sMasterConfig) != HAL_OK)
  {
    Error_Handler();
  }

}

static void MX_TIM5_Init(void)
{

  TIM_ClockConfigTypeDef sClockSourceConfig = {0};
  TIM_MasterConfigTypeDef sMasterConfig = {0};

  htim5.Instance = TIM5;
  htim5.Init.Prescaler = 16750 - 1;
  htim5.Init.CounterMode = TIM_COUNTERMODE_UP;
  htim5.Init.Period = 4294967295;
  htim5.Init.ClockDivision = TIM_CLOCKDIVISION_DIV1;
  htim5.Init.AutoReloadPreload = TIM_AUTORELOAD_PRELOAD_DISABLE;
  if (HAL_TIM_Base_Init(&htim5) != HAL_OK)
  {
    Error_Handler();
  }
  sClockSourceConfig.ClockSource = TIM_CLOCKSOURCE_INTERNAL;
  if (HAL_TIM_ConfigClockSource(&htim5, &sClockSourceConfig) != HAL_OK)
  {
    Error_Handler();
  }
  sMasterConfig.MasterOutputTrigger = TIM_TRGO_RESET;
  sMasterConfig.MasterSlaveMode = TIM_MASTERSLAVEMODE_DISABLE;
  if (HAL_TIMEx_MasterConfigSynchronization(&htim5, &sMasterConfig) != HAL_OK)
  {
    Error_Handler();
  }

}

static void MX_GPIO_Init(void)
{
  GPIO_InitTypeDef GPIO_InitStruct = {0};

  /* GPIO Ports Clock Enable */
  __HAL_RCC_GPIOC_CLK_ENABLE();
  __HAL_RCC_GPIOF_CLK_ENABLE();
  __HAL_RCC_GPIOH_CLK_ENABLE();
  __HAL_RCC_GPIOA_CLK_ENABLE();
  __HAL_RCC_GPIOB_CLK_ENABLE();
  __HAL_RCC_GPIOG_CLK_ENABLE();
  __HAL_RCC_GPIOE_CLK_ENABLE();
  __HAL_RCC_GPIOD_CLK_ENABLE();

  /*Configure GPIO pin Output Level */
  HAL_GPIO_WritePin(GPIOC, NCS_MEMS_SPI_Pin|CSX_Pin|OTG_FS_PSO_Pin, GPIO_PIN_RESET);

  /*Configure GPIO pin Output Level */
  HAL_GPIO_WritePin(ACP_RST_GPIO_Port, ACP_RST_Pin, GPIO_PIN_RESET);

  /*Configure GPIO pin Output Level */
  HAL_GPIO_WritePin(GPIOD, RDX_Pin|WRX_DCX_Pin, GPIO_PIN_RESET);

  /*Configure GPIO pin Output Level */
  HAL_GPIO_WritePin(GPIOG, LD3_Pin|LD4_Pin, GPIO_PIN_RESET);

  /*Configure GPIO pins : A0_Pin A1_Pin A2_Pin A3_Pin
                           A4_Pin A5_Pin SDNRAS_Pin A6_Pin
                           A7_Pin A8_Pin A9_Pin */
  GPIO_InitStruct.Pin = A0_Pin|A1_Pin|A2_Pin|A3_Pin
                          |A4_Pin|A5_Pin|SDNRAS_Pin|A6_Pin
                          |A7_Pin|A8_Pin|A9_Pin;
  GPIO_InitStruct.Mode = GPIO_MODE_AF_PP;
  GPIO_InitStruct.Pull = GPIO_NOPULL;
  GPIO_InitStruct.Speed = GPIO_SPEED_FREQ_VERY_HIGH;
  GPIO_InitStruct.Alternate = GPIO_AF12_FMC;
  HAL_GPIO_Init(GPIOF, &GPIO_InitStruct);

  /*Configure GPIO pin : SDNWE_Pin */
  GPIO_InitStruct.Pin = SDNWE_Pin;
  GPIO_InitStruct.Mode = GPIO_MODE_AF_PP;
  GPIO_InitStruct.Pull = GPIO_NOPULL;
  GPIO_InitStruct.Speed = GPIO_SPEED_FREQ_VERY_HIGH;
  GPIO_InitStruct.Alternate = GPIO_AF12_FMC;
  HAL_GPIO_Init(SDNWE_GPIO_Port, &GPIO_InitStruct);

  /*Configure GPIO pins : NCS_MEMS_SPI_Pin CSX_Pin OTG_FS_PSO_Pin */
  GPIO_InitStruct.Pin = NCS_MEMS_SPI_Pin|CSX_Pin|OTG_FS_PSO_Pin;
  GPIO_InitStruct.Mode = GPIO_MODE_OUTPUT_PP;
  GPIO_InitStruct.Pull = GPIO_NOPULL;
  GPIO_InitStruct.Speed = GPIO_SPEED_FREQ_LOW;
  HAL_GPIO_Init(GPIOC, &GPIO_InitStruct);

  /*Configure GPIO pin : B1_Pin */
  GPIO_InitStruct.Pin = B1_Pin;
  GPIO_InitStruct.Mode = GPIO_MODE_IT_RISING;
  GPIO_InitStruct.Pull = GPIO_NOPULL;
  HAL_GPIO_Init(B1_GPIO_Port, &GPIO_InitStruct);

  /*Configure GPIO pins : MEMS_INT1_Pin MEMS_INT2_Pin TP_INT1_Pin */
  GPIO_InitStruct.Pin = MEMS_INT1_Pin|MEMS_INT2_Pin|TP_INT1_Pin;
  GPIO_InitStruct.Mode = GPIO_MODE_EVT_RISING;
  GPIO_InitStruct.Pull = GPIO_NOPULL;
  HAL_GPIO_Init(GPIOA, &GPIO_InitStruct);

  /*Configure GPIO pin : ACP_RST_Pin */
  GPIO_InitStruct.Pin = ACP_RST_Pin;
  GPIO_InitStruct.Mode = GPIO_MODE_OUTPUT_PP;
  GPIO_InitStruct.Pull = GPIO_NOPULL;
  GPIO_InitStruct.Speed = GPIO_SPEED_FREQ_LOW;
  HAL_GPIO_Init(ACP_RST_GPIO_Port, &GPIO_InitStruct);

  /*Configure GPIO pin : OTG_FS_OC_Pin */
  GPIO_InitStruct.Pin = OTG_FS_OC_Pin;
  GPIO_InitStruct.Mode = GPIO_MODE_EVT_RISING;
  GPIO_InitStruct.Pull = GPIO_NOPULL;
  HAL_GPIO_Init(OTG_FS_OC_GPIO_Port, &GPIO_InitStruct);

  /*Configure GPIO pin : BOOT1_Pin */
  GPIO_InitStruct.Pin = BOOT1_Pin;
  GPIO_InitStruct.Mode = GPIO_MODE_INPUT;
  GPIO_InitStruct.Pull = GPIO_NOPULL;
  HAL_GPIO_Init(BOOT1_GPIO_Port, &GPIO_InitStruct);

  /*Configure GPIO pins : A10_Pin A11_Pin BA0_Pin BA1_Pin
                           SDCLK_Pin SDNCAS_Pin */
  GPIO_InitStruct.Pin = A10_Pin|A11_Pin|BA0_Pin|BA1_Pin
                          |SDCLK_Pin|SDNCAS_Pin;
  GPIO_InitStruct.Mode = GPIO_MODE_AF_PP;
  GPIO_InitStruct.Pull = GPIO_NOPULL;
  GPIO_InitStruct.Speed = GPIO_SPEED_FREQ_VERY_HIGH;
  GPIO_InitStruct.Alternate = GPIO_AF12_FMC;
  HAL_GPIO_Init(GPIOG, &GPIO_InitStruct);

  /*Configure GPIO pins : D4_Pin D5_Pin D6_Pin D7_Pin
                           D8_Pin D9_Pin D10_Pin D11_Pin
                           D12_Pin NBL0_Pin NBL1_Pin */
  GPIO_InitStruct.Pin = D4_Pin|D5_Pin|D6_Pin|D7_Pin
                          |D8_Pin|D9_Pin|D10_Pin|D11_Pin
                          |D12_Pin|NBL0_Pin|NBL1_Pin;
  GPIO_InitStruct.Mode = GPIO_MODE_AF_PP;
  GPIO_InitStruct.Pull = GPIO_NOPULL;
  GPIO_InitStruct.Speed = GPIO_SPEED_FREQ_VERY_HIGH;
  GPIO_InitStruct.Alternate = GPIO_AF12_FMC;
  HAL_GPIO_Init(GPIOE, &GPIO_InitStruct);

  /*Configure GPIO pins : OTG_HS_ID_Pin OTG_HS_DM_Pin OTG_HS_DP_Pin */
  GPIO_InitStruct.Pin = OTG_HS_ID_Pin|OTG_HS_DM_Pin|OTG_HS_DP_Pin;
  GPIO_InitStruct.Mode = GPIO_MODE_AF_PP;
  GPIO_InitStruct.Pull = GPIO_NOPULL;
  GPIO_InitStruct.Speed = GPIO_SPEED_FREQ_LOW;
  GPIO_InitStruct.Alternate = GPIO_AF12_OTG_HS_FS;
  HAL_GPIO_Init(GPIOB, &GPIO_InitStruct);

  /*Configure GPIO pin : VBUS_HS_Pin */
  GPIO_InitStruct.Pin = VBUS_HS_Pin;
  GPIO_InitStruct.Mode = GPIO_MODE_INPUT;
  GPIO_InitStruct.Pull = GPIO_NOPULL;
  HAL_GPIO_Init(VBUS_HS_GPIO_Port, &GPIO_InitStruct);

  /*Configure GPIO pins : D13_Pin D14_Pin D15_Pin D0_Pin
                           D1_Pin D2_Pin D3_Pin */
  GPIO_InitStruct.Pin = D13_Pin|D14_Pin|D15_Pin|D0_Pin
                          |D1_Pin|D2_Pin|D3_Pin;
  GPIO_InitStruct.Mode = GPIO_MODE_AF_PP;
  GPIO_InitStruct.Pull = GPIO_NOPULL;
  GPIO_InitStruct.Speed = GPIO_SPEED_FREQ_VERY_HIGH;
  GPIO_InitStruct.Alternate = GPIO_AF12_FMC;
  HAL_GPIO_Init(GPIOD, &GPIO_InitStruct);

  /*Configure GPIO pin : TE_Pin */
  GPIO_InitStruct.Pin = TE_Pin;
  GPIO_InitStruct.Mode = GPIO_MODE_INPUT;
  GPIO_InitStruct.Pull = GPIO_NOPULL;
  HAL_GPIO_Init(TE_GPIO_Port, &GPIO_InitStruct);

  /*Configure GPIO pins : RDX_Pin WRX_DCX_Pin */
  GPIO_InitStruct.Pin = RDX_Pin|WRX_DCX_Pin;
  GPIO_InitStruct.Mode = GPIO_MODE_OUTPUT_PP;
  GPIO_InitStruct.Pull = GPIO_NOPULL;
  GPIO_InitStruct.Speed = GPIO_SPEED_FREQ_LOW;
  HAL_GPIO_Init(GPIOD, &GPIO_InitStruct);

  /*Configure GPIO pins : STLINK_RX_Pin STLINK_TX_Pin */
  GPIO_InitStruct.Pin = STLINK_RX_Pin|STLINK_TX_Pin;
  GPIO_InitStruct.Mode = GPIO_MODE_AF_PP;
  GPIO_InitStruct.Pull = GPIO_NOPULL;
  GPIO_InitStruct.Speed = GPIO_SPEED_FREQ_VERY_HIGH;
  GPIO_InitStruct.Alternate = GPIO_AF7_USART1;
  HAL_GPIO_Init(GPIOA, &GPIO_InitStruct);

  /*Configure GPIO pins : LD3_Pin LD4_Pin */
  GPIO_InitStruct.Pin = LD3_Pin|LD4_Pin;
  GPIO_InitStruct.Mode = GPIO_MODE_OUTPUT_PP;
  GPIO_InitStruct.Pull = GPIO_NOPULL;
  GPIO_InitStruct.Speed = GPIO_SPEED_FREQ_LOW;
  HAL_GPIO_Init(GPIOG, &GPIO_InitStruct);

  /*Configure GPIO pins : SDCKE1_Pin SDNE1_Pin */
  GPIO_InitStruct.Pin = SDCKE1_Pin|SDNE1_Pin;
  GPIO_InitStruct.Mode = GPIO_MODE_AF_PP;
  GPIO_InitStruct.Pull = GPIO_NOPULL;
  GPIO_InitStruct.Speed = GPIO_SPEED_FREQ_VERY_HIGH;
  GPIO_InitStruct.Alternate = GPIO_AF12_FMC;
  HAL_GPIO_Init(GPIOB, &GPIO_InitStruct);

  /* EXTI interrupt init*/
  HAL_NVIC_SetPriority(EXTI0_IRQn, 0, 0);
  HAL_NVIC_EnableIRQ(EXTI0_IRQn);

}

/* USER CODE BEGIN 4 */
void startTimers(){
	HAL_TIM_Base_Start_IT(& htim2);
	HAL_TIM_Base_Start(& htim5);
}
volatile uint8_t tim2CallCounter = 0;
void HAL_TIM_PeriodElapsedCallback(TIM_HandleTypeDef *htim){
//	printf("TIMERCALLED\n");
	if (htim == &htim2) {
		tim2CallCounter++;
//		printf("Counter: %u\n", tim2CallCounter);
//		printf("1/10 of a second\n");
		if (tim2CallCounter >= 10 * BLOCK_FALL_TIME){
#if USEDEBUG == 1
			printf("3 seconds\n");
#endif
			HAL_GPIO_TogglePin(GPIOG, GPIO_PIN_14);
			movePieceDown(& board,& currentPiece);
			LCD_Clear(0,LCD_COLOR_BLACK);
			showGameScreen();
			Draw_Arrows_On_Screen(-1);
			tim2CallCounter = 0;
		}
	}
}
void HAL_GPIO_EXTI_Callback(uint16_t GPIO_Pin)
{
	handleInput(&board,&currentPiece, BUTTONACTION);
	LCD_Clear(0,LCD_COLOR_BLACK);
	showGameScreen();
	Draw_Arrows_On_Screen(-1);

	HAL_GPIO_TogglePin(GPIOG, GPIO_PIN_13);
	static volatile uint32_t last;
	uint32_t current = __HAL_TIM_GET_COUNTER(&htim5);
	printf("Pushed after %u\n", (unsigned int) (current - last)/5000);
	last = current;
}
/* USER CODE END 4 */

void Error_Handler(void)
{
  __disable_irq();
  while (1)
  {
  }
}
